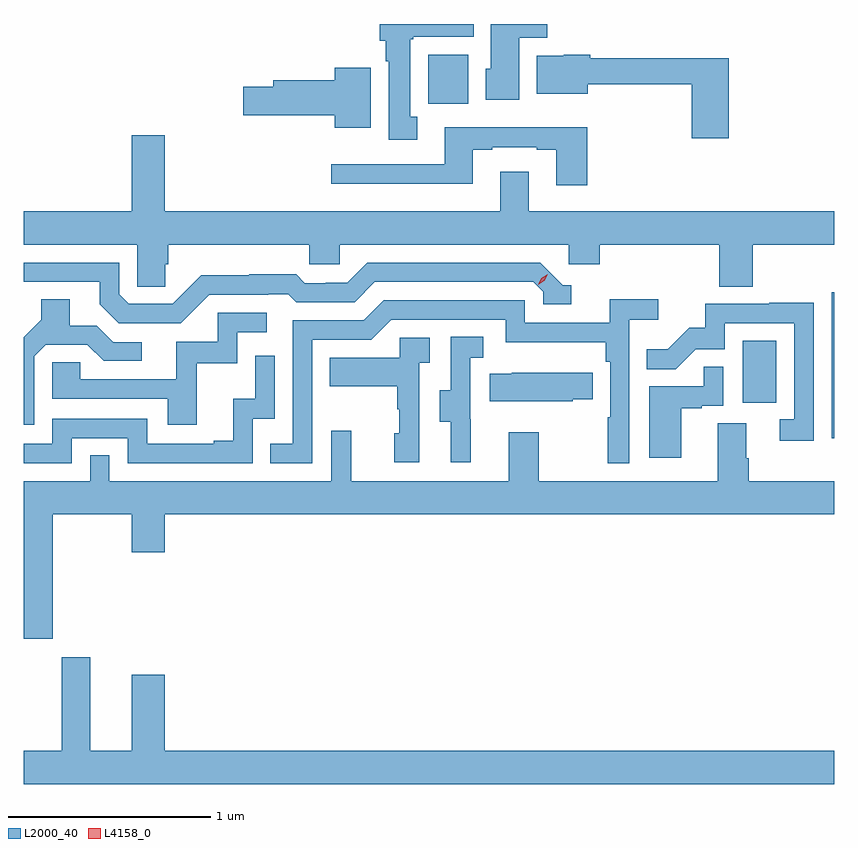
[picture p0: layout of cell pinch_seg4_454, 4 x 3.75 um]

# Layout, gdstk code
import gdstk
lib = gdstk.Library(unit=1e-6, precision=1e-09)
def R(c, l, rs):  # rectangles x0, y0, x1, y1
    for r in rs: c.add(gdstk.rectangle(r[:2], r[2:], *l))
def P(c, l, *ps):  # polygons
    for p in ps: c.add(gdstk.Polygon(p, *l))
L2000_40 = (2000, 40)
L4158_0 = (4158, 0)

pinch_seg4_454 = lib.new_cell('pinch_seg4_454')
R(pinch_seg4_454, L2000_40, [(911.72,777.216,911.732,777.937), (911.282,777.39,911.446,777.697), (909.728,778.868,909.925,779.11)])
P(pinch_seg4_454, L2000_40, [(909.673,778.802),(909.64,778.802),(909.64,779.185),(909.654,779.185),(909.654,779.198),(909.952,779.198),(909.952,779.261),(909.488,779.261),(909.488,779.178),(909.518,779.178),(909.518,779.078),(909.533,779.078),(909.533,778.689),(909.673,778.689)],
  [(910.177,779.192),(910.316,779.192),(910.316,779.261),(910.037,779.261),(910.037,779.04),(910.013,779.04),(910.013,778.886),(910.177,778.886)],
  [(911.213,779.092),(910.529,779.092),(910.529,779.11),(910.398,779.11),(910.398,779.104),(910.265,779.104),(910.265,778.916),(910.516,778.916),(910.516,778.963),(911.03,778.963),(911.03,778.698),(911.213,778.698)],
  [(909.445,779.044),(909.266,779.044),(909.266,778.982),(908.963,778.982),(908.963,778.952),(908.814,778.952),(908.814,778.81),(909.266,778.81),(909.266,778.748),(909.445,778.748)],
  [(910.514,778.75),(909.809,778.75),(909.809,778.569),(909.249,778.569),(909.249,778.472),(909.949,778.472),(909.949,778.641),(910.045,778.641),(910.045,778.653),(910.265,778.653),(910.265,778.641),(910.361,778.641),(910.361,778.464),(910.514,778.464)],
  [(908.429,778.074),(908.444,778.074),(908.444,778.172),(909.141,778.172),(909.141,778.074),(909.291,778.074),(909.291,778.172),(910.422,778.172),(910.422,778.074),(910.574,778.074),(910.574,778.172),(911.165,778.172),(911.165,777.964),(911.33,777.964),(911.33,778.172),(911.732,778.172),(911.732,778.336),(910.225,778.336),(910.225,778.531),(910.085,778.531),(910.085,778.336),(908.428,778.336),(908.428,778.711),(908.264,778.711),(908.264,778.336),(907.732,778.336),(907.732,778.172),(908.292,778.172),(908.292,777.964),(908.429,777.964)],
  [(908.646,777.924),(908.939,777.924),(908.939,777.927),(909.038,777.927),(909.077,777.888),(909.366,777.888),(909.465,777.987),(910.248,777.987),(910.296,777.939),(910.296,777.876),(910.435,777.876),(910.435,777.972),(910.392,777.972),(910.281,778.083),(909.428,778.083),(909.329,777.984),(909.222,777.984),(909.222,777.981),(909.119,777.981),(909.077,778.024),(908.844,778.024),(908.844,778.021),(908.608,778.021),(908.466,777.879),(908.25,777.879),(908.202,777.927),(908.202,778.083),(907.732,778.083),(907.732,777.987),(908.105,777.987),(908.105,777.877),(908.199,777.783),(908.505,777.783)],
  [(907.782,777.621),(907.839,777.678),(908.045,777.678),(908.126,777.597),(908.314,777.597),(908.314,777.69),(908.172,777.69),(908.092,777.77),(907.957,777.77),(907.957,777.902),(907.817,777.902),(907.817,777.8),(907.732,777.715),(907.732,777.282),(907.782,777.282)],
  [(909.156,777.702),(909.447,777.702),(909.546,777.801),(910.11,777.801),(910.11,777.689),(910.606,777.689),(910.606,777.593),(910.626,777.593),(910.626,777.32),(910.614,777.32),(910.614,777.093),(910.722,777.093),(910.722,777.8),(910.864,777.8),(910.864,777.902),(910.625,777.902),(910.625,777.786),(910.206,777.786),(910.206,777.897),(909.509,777.897),(909.41,777.798),(909.06,777.798),(909.06,777.189),(908.947,777.189),(908.947,777.093),(909.156,777.093)],
  [(911.631,777.884),(911.413,777.884),(911.413,777.879),(911.095,777.879),(911.095,777.762),(911.018,777.762),(910.911,777.655),(910.807,777.655),(910.807,777.556),(910.951,777.556),(911.049,777.654),(911.193,777.654),(911.193,777.783),(911.535,777.783),(911.535,777.309),(911.463,777.309),(911.463,777.204),(911.631,777.204)],
  [(908.585,777.585),(908.784,777.585),(908.784,777.738),(908.932,777.738),(908.932,777.834),(908.688,777.834),(908.688,777.693),(908.483,777.693),(908.483,777.507),(908.009,777.507),(908.009,777.591),(907.872,777.591),(907.872,777.411),(908.441,777.411),(908.441,777.282),(908.585,777.282)],
  [(909.938,777.309),(909.936,777.309),(909.936,777.613),(910,777.613),(910,777.716),(909.84,777.716),(909.84,777.453),(909.785,777.453),(909.785,777.298),(909.839,777.298),(909.839,777.096),(909.938,777.096)],
  [(909.684,777.587),(909.736,777.587),(909.736,777.711),(909.588,777.711),(909.588,777.613),(909.241,777.613),(909.241,777.473),(909.576,777.473),(909.576,777.359),(909.586,777.359),(909.586,777.24),(909.56,777.24),(909.56,777.096),(909.684,777.096)],
  [(907.968,777.216),(908.244,777.216),(908.244,777.093),(908.862,777.093),(908.862,777.312),(908.97,777.312),(908.97,777.622),(908.874,777.622),(908.874,777.41),(908.765,777.41),(908.765,777.202),(908.669,777.202),(908.669,777.189),(908.34,777.189),(908.34,777.312),(907.872,777.312),(907.872,777.189),(907.732,777.189),(907.732,777.093),(907.968,777.093)],
  [(910.978,777.363),(911.078,777.363),(911.078,777.375),(911.184,777.375),(911.184,777.569),(911.089,777.569),(911.089,777.471),(910.82,777.471),(910.82,777.12),(910.978,777.12)],
  [(910.443,777.409),(910.541,777.409),(910.541,777.538),(910.141,777.538),(910.141,777.535),(910.033,777.535),(910.033,777.398),(910.443,777.398)],
  [(907.873,776.84),(908.264,776.84),(908.264,776.652),(908.428,776.652),(908.428,776.84),(911.732,776.84),(911.732,777.004),(911.312,777.004),(911.312,777.116),(911.299,777.116),(911.299,777.29),(911.159,777.29),(911.159,777.004),(910.275,777.004),(910.275,777.244),(910.127,777.244),(910.127,777.004),(909.347,777.004),(909.347,777.253),(909.249,777.253),(909.249,777.004),(908.154,777.004),(908.154,777.131),(908.058,777.131),(908.058,777.004),(907.732,777.004),(907.732,776.226),(907.873,776.226)],
  [(911.732,775.672),(908.428,775.672),(908.428,776.047),(908.264,776.047),(908.264,775.672),(908.059,775.672),(908.059,776.134),(907.919,776.134),(907.919,775.672),(907.732,775.672),(907.732,775.508),(911.732,775.508)])
P(pinch_seg4_454, L4158_0, [(910.271,777.973),(910.271,777.974),(910.287,778.006),(910.318,778.026),(910.318,778.026),(910.318,778.026),(910.302,777.993),(910.272,777.973)])

lib.write_gds('pinch_seg4_454.gds')
